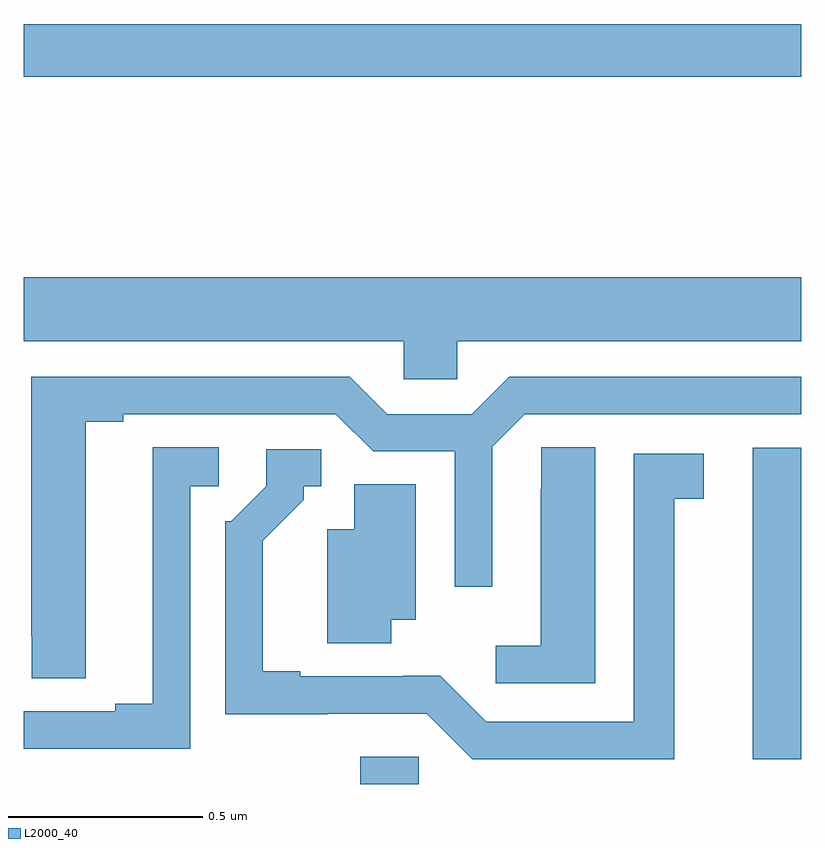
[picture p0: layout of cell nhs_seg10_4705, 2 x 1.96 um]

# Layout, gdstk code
import gdstk
lib = gdstk.Library(unit=1e-6, precision=1e-09)
def R(c, l, rs):  # rectangles x0, y0, x1, y1
    for r in rs: c.add(gdstk.rectangle(r[:2], r[2:], *l))
def P(c, l, *ps):  # polygons
    for p in ps: c.add(gdstk.Polygon(p, *l))
L2000_40 = (2000, 40)

nhs_seg10_4705 = lib.new_cell('nhs_seg10_4705')
R(nhs_seg10_4705, L2000_40, [(169.865,1308.5,170.016,1308.57), (170.876,1308.564,171,1309.366), (169,1310.32,171,1310.456)])
P(nhs_seg10_4705, L2000_40, [(169,1309.64),(169.977,1309.64),(169.977,1309.542),(170.115,1309.542),(170.115,1309.64),(171,1309.64),(171,1309.804),(169,1309.804)],
  [(169.159,1309.432),(169.255,1309.432),(169.255,1309.452),(169.803,1309.452),(169.899,1309.356),(170.109,1309.356),(170.109,1309.008),(170.205,1309.008),(170.205,1309.368),(170.289,1309.452),(171,1309.452),(171,1309.548),(170.249,1309.548),(170.153,1309.452),(169.935,1309.452),(169.839,1309.548),(169.019,1309.548),(169.019,1308.88),(169.02,1308.88),(169.02,1308.772),(169.159,1308.772)],
  [(169.428,1309.266),(169.501,1309.266),(169.501,1309.367),(169.331,1309.367),(169.331,1308.707),(169.235,1308.707),(169.235,1308.687),(169,1308.687),(169,1308.591),(169.428,1308.591)],
  [(170.47,1309.367),(170.331,1309.367),(170.331,1309.259),(170.33,1309.259),(170.33,1308.856),(170.214,1308.856),(170.214,1308.759),(170.47,1308.759)],
  [(170.674,1309.234),(170.749,1309.234),(170.749,1309.35),(170.57,1309.35),(170.57,1308.66),(170.19,1308.66),(170.072,1308.778),(169.976,1308.778),(169.976,1308.777),(169.711,1308.777),(169.711,1308.79),(169.615,1308.79),(169.615,1309.126),(169.72,1309.231),(169.72,1309.266),(169.765,1309.266),(169.765,1309.362),(169.623,1309.362),(169.623,1309.266),(169.533,1309.176),(169.518,1309.176),(169.518,1308.68),(169.781,1308.68),(169.781,1308.681),(170.037,1308.681),(170.154,1308.564),(170.674,1308.564)],
  [(169.945,1308.923),(170.008,1308.923),(170.008,1309.271),(169.85,1309.271),(169.85,1309.156),(169.781,1309.156),(169.781,1308.862),(169.945,1308.862)])

lib.write_gds('nhs_seg10_4705.gds')
